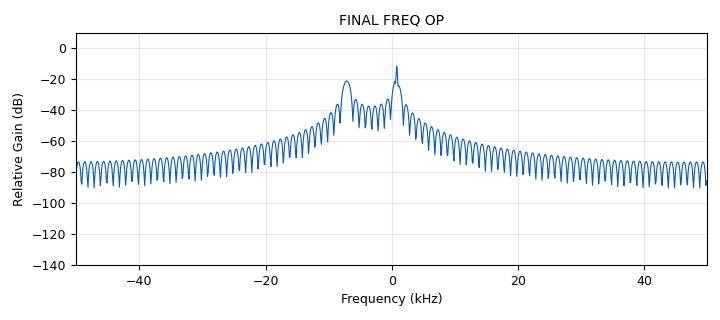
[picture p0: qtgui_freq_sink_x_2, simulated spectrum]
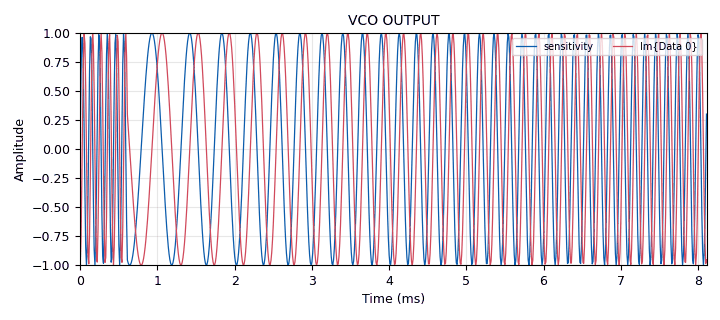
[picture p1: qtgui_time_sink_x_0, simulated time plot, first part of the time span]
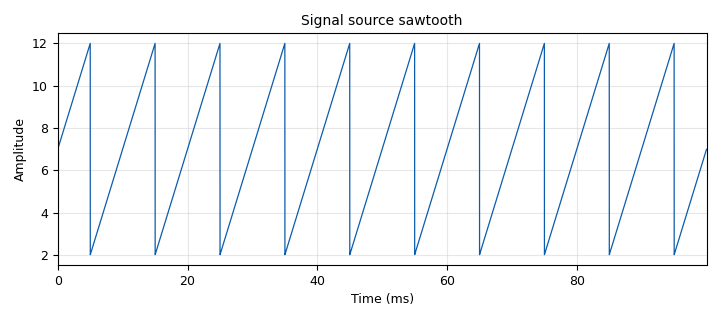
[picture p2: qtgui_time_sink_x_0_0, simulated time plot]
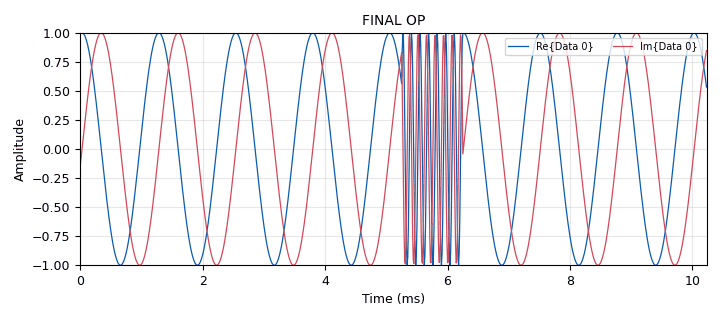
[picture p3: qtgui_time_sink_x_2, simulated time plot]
options:
  parameters:
    author: Preethi
    generate_options: qt_gui
    id: updatedfrequency
    output_language: python
    title: frequency
  states: {}

blocks:
- name: samp_rate
  id: variable
  parameters:
    value: '100000'
  states: {}
- name: sensitivity
  id: variable_qtgui_range
  parameters:
    label: sensitivity
    start: '10'
    step: '1000'
    stop: '1000000'
    value: '5000'
  states: {}
- name: variable_0
  id: variable
  parameters:
    value: '0'
  states: {}
- name: analog_sig_source_x_0
  id: analog_sig_source_x
  parameters:
    amp: '10'
    freq: '100'
    offset: '2'
    phase: '0'
    samp_rate: samp_rate
    type: float
    waveform: analog.GR_SAW_WAVE
  states: {}
- name: blocks_delay_0
  id: blocks_delay
  parameters:
    delay: '100'
    type: complex
  states: {}
- name: blocks_file_sink_0
  id: blocks_file_sink
  parameters:
    file: C:/Users/Preethi/Desktop/SDR/beat_100.dat
    type: complex
    unbuffered: 'True'
  states: {}
- name: blocks_multiply_conjugate_cc_0
  id: blocks_multiply_conjugate_cc
  parameters: {}
  states: {}
- name: blocks_throttle2_0
  id: blocks_throttle2
  parameters:
    samples_per_second: samp_rate
    type: float
  states: {}
- name: blocks_vco_c_0
  id: blocks_vco_c
  parameters:
    amplitude: '1'
    samp_rate: samp_rate
    sensitivity: sensitivity
  states: {}
- name: qtgui_freq_sink_x_2
  id: qtgui_freq_sink_x
  parameters:
    bw: samp_rate
    fc: '0'
    fftsize: '1024'
    name: '"FINAL FREQ OP"'
    type: complex
  states: {}
- name: qtgui_time_sink_x_0
  id: qtgui_time_sink_x
  parameters:
    label1: sensitivity
    name: '"VCO OUTPUT"'
    size: '10240'
    srate: samp_rate
    type: complex
  states: {}
- name: qtgui_time_sink_x_0_0
  id: qtgui_time_sink_x
  parameters:
    autoscale: 'True'
    grid: 'True'
    name: '"Signal source sawtooth"'
    size: '10000'
    srate: samp_rate
    type: float
  states: {}
- name: qtgui_time_sink_x_1
  id: qtgui_time_sink_x
  parameters:
    name: '"DELAY OUTPUT"'
    size: '1024'
    srate: samp_rate
    type: complex
  states: {state: disabled}
- name: qtgui_time_sink_x_2
  id: qtgui_time_sink_x
  parameters:
    name: '"FINAL OP"'
    size: '1024'
    srate: samp_rate
    type: complex
  states: {}

connections:
- [analog_sig_source_x_0, '0', blocks_throttle2_0, '0']
- [analog_sig_source_x_0, '0', qtgui_time_sink_x_0_0, '0']
- [blocks_delay_0, '0', blocks_multiply_conjugate_cc_0, '1']
- [blocks_delay_0, '0', qtgui_time_sink_x_1, '0']
- [blocks_multiply_conjugate_cc_0, '0', blocks_file_sink_0, '0']
- [blocks_multiply_conjugate_cc_0, '0', qtgui_freq_sink_x_2, '0']
- [blocks_multiply_conjugate_cc_0, '0', qtgui_time_sink_x_2, '0']
- [blocks_throttle2_0, '0', blocks_vco_c_0, '0']
- [blocks_vco_c_0, '0', blocks_delay_0, '0']
- [blocks_vco_c_0, '0', blocks_multiply_conjugate_cc_0, '0']
- [blocks_vco_c_0, '0', qtgui_time_sink_x_0, '0']

metadata:
  file_format: 1
  grc_version: 3.10.12.0
